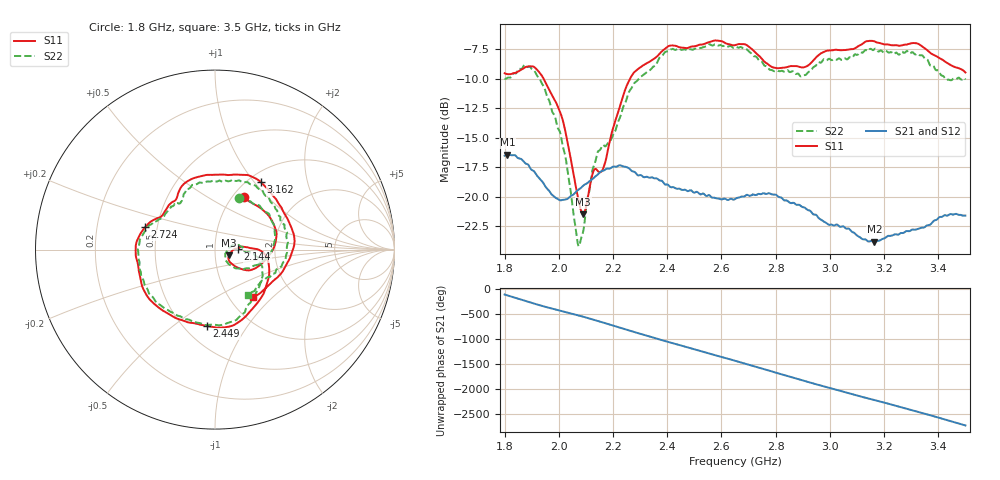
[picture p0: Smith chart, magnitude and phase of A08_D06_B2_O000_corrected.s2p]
! Created with skrf 1.9.0 (http://scikit-rf.org).
# Hz S RI R 50.0
!freq ReS11 ImS11 ReS21 ImS21 ReS12 ImS12 ReS22 ImS22
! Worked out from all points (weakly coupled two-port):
!   1601 points, 1.8 GHz to 3.5 GHz, reference 50 ohm
!   highest |S21| = -16.44 dB at 1.811 GHz (marker M1); lowest = -23.8 dB at 3.164 GHz (marker M2)
!   lowest |S11| = -21.5 dB at 2.09 GHz (marker M3), VSWR 1.18, Z = 58.3 - j3.73 ohm
!   |S11| at or under -10 dB: 1.944 GHz to 2.263 GHz (319.4 MHz wide, 15.2 % of centre)
!   |S22| runs from -24.2 to -7.1 dB; largest |S21 - S12| = 0.0025
!   S11 on the Smith chart (normalised r, x): 1.8 GHz: 1.12, +0.74; 2.144 GHz: 1.29, +0.01; 2.449 GHz: 0.64, -0.67; 2.724 GHz: 0.43, +0.13; 3.162 GHz: 1.14, +1.08; 3.5 GHz: 1.28, -0.76
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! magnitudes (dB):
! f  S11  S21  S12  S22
! 1.8 GHz  -9.6  -16.5  -16.5  -10.0
! 1.811 GHz  -9.6  -16.4  -16.4  -9.9
! 1.88 GHz  -9.0  -17.2  -17.2  -9.0
! 1.941 GHz  -9.9  -18.8  -18.8  -10.6
! 2.013 GHz  -13.4  -20.3  -20.3  -15.5
! 2.067 GHz  -19.6  -19.5  -19.5  -23.5
! 2.084 GHz  -21.3  -19.2  -19.2  -23.4
! 2.09 GHz  -21.5  -19.1  -19.1  -22.9
! 2.126 GHz  -17.9  -18.5  -18.4  -17.5
! 2.144 GHz  -17.8  -18.1  -18.1  -16.2
! 2.167 GHz  -17.4  -17.8  -17.8  -15.7
! 2.262 GHz  -10.0  -17.7  -17.7  -11.0
! 2.367 GHz  -8.0  -18.5  -18.5  -8.4
! 2.449 GHz  -7.4  -19.4  -19.4  -7.5
! 2.65 GHz  -7.2  -20.2  -20.2  -7.4
! 2.724 GHz  -7.8  -19.9  -19.8  -8.1
! 2.799 GHz  -9.1  -19.8  -19.8  -9.4
! 2.934 GHz  -8.6  -21.4  -21.3  -9.2
! 3.162 GHz  -6.8  -23.8  -23.7  -7.6
! 3.164 GHz  -6.8  -23.8  -23.8  -7.5
! 3.217 GHz  -7.1  -23.3  -23.3  -7.8
! 3.5 GHz  -9.5  -21.6  -21.6  -10.1
